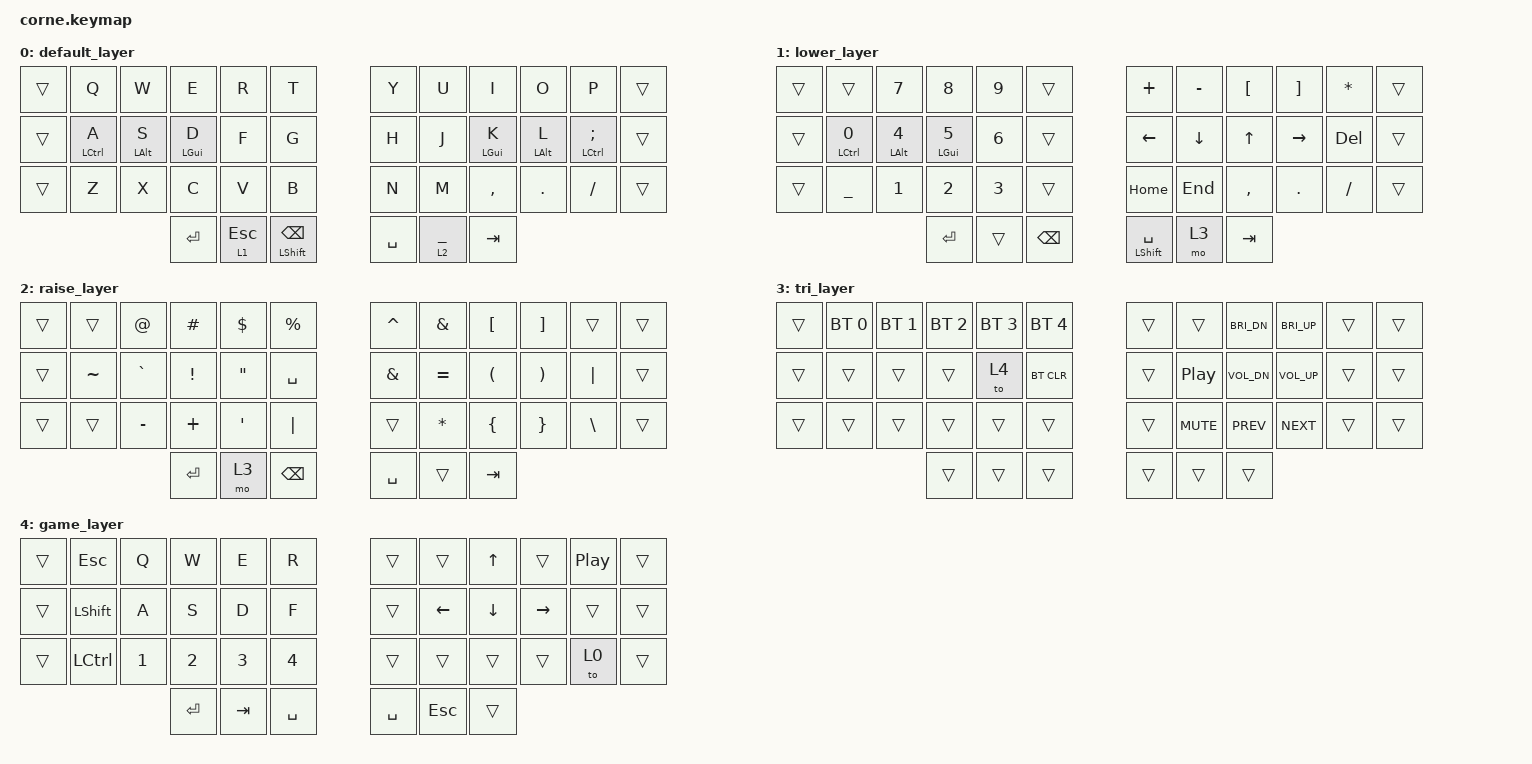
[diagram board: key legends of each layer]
/*
 * Copyright (c) 2020 The ZMK Contributors
 *
 * SPDX-License-Identifier: MIT
 */

#include <behaviors.dtsi>
#include <dt-bindings/zmk/keys.h>
#include <dt-bindings/zmk/bt.h>

/ {
        behaviors {
                hm: homerow_mods {
                        compatible = "zmk,behavior-hold-tap";
                        #binding-cells = <2>;
                        tapping-term-ms = <200>;
                        quick-tap-ms = <0>;
                        flavor = "tap-preferred";
                        bindings = <&kp>, <&kp>;
                };
        };
        keymap {
                compatible = "zmk,keymap";

                default_layer {
// -----------------------------------------------------------------------------------------
// |  Q  |  W  |  E  |    R    |   T   |   |  Y  |   U   |  I  |  O  |  P  |
// | C/A | A/S | G/D |    F    |   G   |   |  H  |   J   | G/K | A/L | C/; |
// |  Z  |  X  |  C  |    V    |   B   |   |  N  |   M   |  ,  |  .  |  /  |
//             | RET | LWR/ESC | S/BSP |   | SPC | RSE/_ | TAB |
                        bindings = <
   &trans  &kp Q        &kp W      &kp E      &kp R      &kp T             &kp Y     &kp U        &kp I      &kp O      &kp P          &trans
   &trans  &hm LCTRL A  &hm LALT S &hm LGUI D &kp F      &kp G             &kp H     &kp J        &hm LGUI K &hm LALT L &hm LCTRL SEMI &trans
   &trans  &kp Z        &kp X      &kp C      &kp V      &kp B             &kp N     &kp M        &kp COMMA  &kp DOT    &kp FSLH       &trans
                                   &kp RET    &lt 1 ESC  &mt LSHIFT BSPC   &kp SPACE &lt 2 UNDER  &kp TAB
                        >;
                };
                lower_layer {
// -----------------------------------------------------------------------------------------
// |     |  7  |  8  |  9  |     |   |   +   |    -    |  [  |  ]  |  *  |
// | C/0 | A/4 | G/5 |  6  |     |   |  LFT  |   DWN   |  UP | RGT | DEL |
// |  _  |  1  |  2  |  3  |     |   |  HOM  |   END   |  ,  |  .  |  /  |
//             | RET |     | BSP |   | S/SPC | ESC/TRI | TAB |
                        bindings = <
   &trans  &trans       &kp N7      &kp N8       &kp N9  &trans     &kp PLUS         &kp MINUS &kp LBKT  &kp RBKT  &kp ASTRK &trans
   &trans  &hm LCTRL N0 &hm LALT N4 &hm LGUI N5  &kp N6  &trans     &kp LEFT         &kp DOWN  &kp UP    &kp RIGHT &kp DEL   &trans
   &trans  &kp UNDER    &kp N1      &kp N2       &kp N3  &trans     &kp HOME         &kp END   &kp COMMA &kp DOT   &kp FSLH  &trans
                                    &kp RET      &trans  &kp BSPC   &mt LSHIFT SPACE &mo 3     &kp TAB
                        >;
                };

                raise_layer {
// -----------------------------------------------------------------------------------------
// |     |  @  |  #  |    $    |  %  |   |  ^  |  &  |  [  |  ]  |     |
// |  ~  |  `  |  !  |    "    | SPC |   |  &  |  =  |  (  |  )  | "|" |
// |     |  -  |  +  |    '    |     |   |     |  *  |  {  |  }  |  \  |
//             | RET | ESC/TRI | BSP |   | SPC |     | TAB |
                        bindings = <
   &trans  &trans    &kp AT    &kp HASH &kp DLLR  &kp PRCNT     &kp CARET &kp AMPS  &kp LBKT  &kp RBKT &trans   &trans
   &trans  &kp TILDE &kp GRAVE &kp EXCL &kp DQT   &kp SPACE     &kp AMPS  &kp EQUAL &kp LPAR  &kp RPAR &kp PIPE &trans
   &trans  &trans    &kp MINUS &kp PLUS &kp SQT   &kp PIPE      &trans    &kp ASTRK &kp LBRC  &kp RBRC &kp BSLH &trans
                               &kp RET  &mo 3     &kp BSPC      &kp SPACE &trans    &kp TAB
                        >;
                };

                tri_layer {
// -----------------------------------------------------------------------------------------
// | BT1 | BT2 | BT3 | BT4 | BT5 |   |     |     | BR- | BR+ |     |
// |     |     |     | GAM | BCL |   |     | PAU | VO- | VO+ |     |
// |     |     |     |     |     |   |     | MUT | <<  |  >> |     |
//             |     |     |     |   |     |     |     |
                        bindings = <
   &trans  &bt BT_SEL 0 &bt BT_SEL 1 &bt BT_SEL 2 &bt BT_SEL 3 &bt BT_SEL 4   &trans &trans     &kp C_BRI_DN &kp C_BRI_UP &trans &trans
   &trans  &trans       &trans       &trans       &to 4        &bt BT_CLR     &trans &kp C_PP   &kp C_VOL_DN &kp C_VOL_UP &trans &trans
   &trans  &trans       &trans       &trans       &trans       &trans         &trans &kp C_MUTE &kp C_PREV   &kp C_NEXT   &trans &trans
                                     &trans       &trans       &trans         &trans &trans     &trans
                        >;
                };
                game_layer {
// -----------------------------------------------------------------------------------------
// | ESC |  Q  |  W  |  E  |  R  |   |     |     |  UP |     | PAU |
// | LSH |  A  |  S  |  D  |  F  |   |     | LFT | DWN | RGT |     |
// | CRL |  1  |  2  |  3  |  4  |   |     |     |     |     | OFF |
//             | RET | TAB | SPC |   | SPC | ESC |     |
                        bindings = <
   &trans  &kp ESC   &kp Q  &kp W   &kp E   &kp R       &trans    &trans   &kp UP   &trans    &kp C_PP &trans
   &trans  &kp LSHFT &kp A  &kp S   &kp D   &kp F       &trans    &kp LEFT &kp DOWN &kp RIGHT &trans   &trans
   &trans  &kp LCTRL &kp N1 &kp N2  &kp N3  &kp N4      &trans    &trans   &trans   &trans    &to 0    &trans
                            &kp RET &kp TAB &kp SPACE   &kp SPACE &kp ESC  &trans
                        >;
                };
        };
};
// -----------------------------------------------------------------------------------------
// |  Q  |  W  |  E  |    R    |   T   |   |   Y   |    U    |  I  |  O  |  P  |
// | C/A | A/S | G/D |   _F_   |   G   |   |   H   |   _J_   | G/K | A/L | C/; |
// |  Z  |  X  |  C  |    V    |   B   |   |   N   |    M    |  ,  |  .  |  /  |
//             | RET | LWR/ESC | S/BSP |   |  SPC  |  RSE/_  | TAB |
// -----------------------------------------------------------------------------------------
// |     |  7  |  8  |    9    |       |   |   +   |    -    |  [  |  ]  |  *  |
// | C/0 | A/4 | G/5 |   _6_   |       |   |  LFT  |  _DWN_  |  UP | RGT | DEL |
// |  _  |  1  |  2  |    3    |       |   |  HOM  |   END   |  ,  |  .  |  /  |
//             | RET |         |  BSP  |   | S/SPC |   TRI   | TAB |
// -----------------------------------------------------------------------------------------
// |     |  @  |  #  |    $    |   %   |   |   ^   |    &    |  [  |  ]  |     |
// |  ~  |  `  |  !  |   _"_   |  SPC  |   |   &   |   _=_   |  (  |  )  | "|" |
// |     |  -  |  +  |    '    |       |   |       |    *    |  {  |  }  |  \  |
//             | RET |   TRI   |  BSP  |   |  SPC  |         | TAB |
// -----------------------------------------------------------------------------------------
// | BT1 | BT2 | BT3 |   BT4   |  BT5  |   |       |         | BR- | BR+ |     |
// |     |     |     |  _GAM_  |  BCL  |   |       |  _PAU_  | VO- | VO+ |     |
// |     |     |     |         |       |   |       |   MUT   | <<  |  >> |     |
//             |     |         |       |   |       |         |     |
// -----------------------------------------------------------------------------------------
// | ESC |  Q  |  W  |    E    |   R   |   |       |         |  UP |     | PAU |
// | LSH |  A  |  S  |    D    |  _F_  |   |       |  _LFT_  | DWN | RGT |     |
// | CRL |  1  |  2  |    3    |   4   |   |       |         |     |     | OFF |
//             | RET |   TAB   |  SPC  |   |  SPC  |   ESC   |     |
